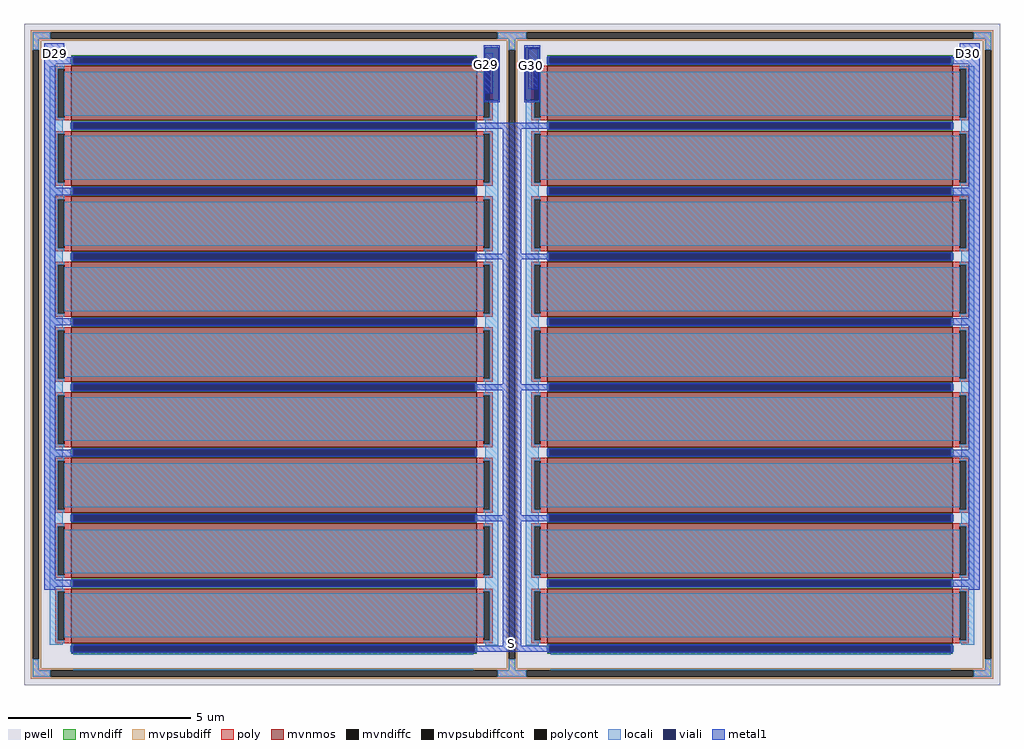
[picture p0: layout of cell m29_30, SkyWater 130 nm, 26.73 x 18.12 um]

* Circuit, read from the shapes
.subckt m29_30 D29 D30 G29 G30 S
XM1 D29 G29 S VSUBS sky130_fd_pr__nfet_g5v0d10v5 w=11.11 l=1.5 m=9
XM2 D30 G30 S VSUBS sky130_fd_pr__nfet_g5v0d10v5 w=11.11 l=1.5 m=9
.ends

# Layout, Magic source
magic
tech sky130A
magscale 1 2
<< metal1 >>
rect 8840 9886 8936 9976
rect 11236 9716 11286 9938
rect 11480 9738 11530 9960
rect 13848 9902 13936 9978
rect 11336 9524 11452 9554
rect 11338 6660 11428 9524
rect 11360 6658 11418 6660
use sky130_fd_pr__nfet_g5v0d10v5_XH6BGL  sky130_fd_pr__nfet_g5v0d10v5_XH6BGL_0
transform 0 1 10086 -1 0 8285
box -1812 -1369 1812 1369
use sky130_fd_pr__nfet_g5v0d10v5_XH6BGL  sky130_fd_pr__nfet_g5v0d10v5_XH6BGL_1
transform 0 -1 12694 -1 0 8285
box -1812 -1369 1812 1369
<< labels >>
flabel metal1 11388 6702 11388 6702 0 FreeSans 1600 0 0 0 S
flabel metal1 11496 9866 11496 9866 0 FreeSans 1600 0 0 0 G30
flabel metal1 11248 9876 11248 9876 0 FreeSans 160 0 0 0 G29
flabel metal1 8892 9932 8892 9932 0 FreeSans 800 0 0 0 D29
flabel metal1 13888 9936 13888 9936 0 FreeSans 800 0 0 0 D30
<< end >>

# cell sky130_fd_pr__nfet_g5v0d10v5_XH6BGL: kit device sky130_fd_pr__nfet_g5v0d10v5, w 11.11 l 1.5 m 1 nf 9 diffcov 100 polycov 100 guard 1 glc 1 grc 1 gtc 1 gbc 1 tbcov 100 rlcov 100 topc 1 botc 1 poverlap 0 doverlap 1 lmin 0.50 wmin 0.42 class mosfet compatible {sky130_fd_pr__nfet_01v8 sky130_fd_pr__nfet_01v8_lvt sky130_fd_bs_flash__special_sonosfet_star sky130_fd_pr__nfet_g5v0d10v5 sky130_fd_pr__nfet_05v0_nvt sky130_fd_pr__nfet_03v3_nvt} full_metal 1 conn_gates 0 viasrc 100 viadrn 100 viagate 100 viagb 0 viagr 0 viagl 0 viagt 0 doports 1
